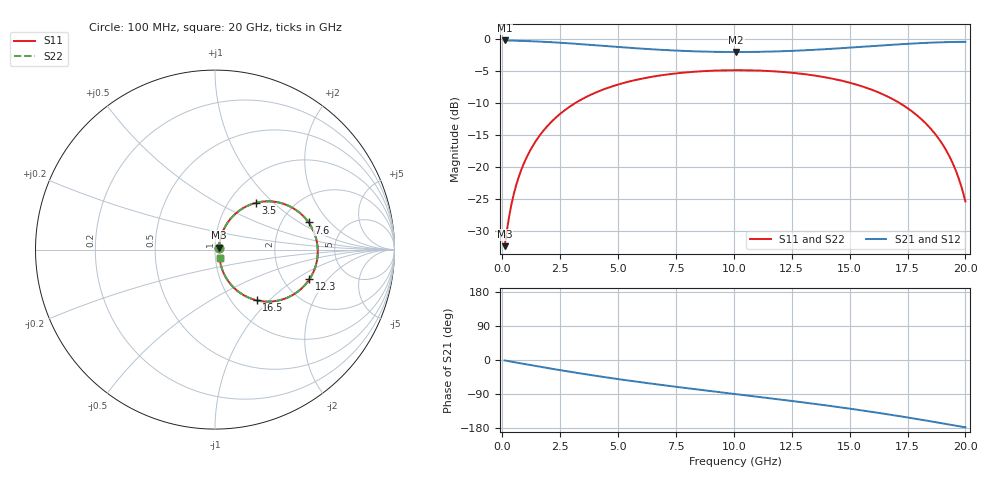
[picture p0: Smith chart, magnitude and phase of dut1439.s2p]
! Touchstone file exported from HFSS 2026.1.0
!  File:  C:/ffzhzh/LocalFiles/Ansys_Project_Files/temp_train_TSV_RDL_1439_1783357098_46376.aedt
!  Generated:  01:09:31 AM Jul  7, 2026
!  Design:  TSV_RDL
!  Project:  temp_train_TSV_RDL_1439_1783357098_46376
! Variables:
!  h_bsmrdl = 2.06um
!  h_ox = 20um
!  h_rdl = 5um
!  h_sub = 52.57um
!  h_tmrdl = 4.18um
!  h_tsv = 52.57um
!  h_via = 3um
!  l_bsmrdl = 385.5um
!  l_sub = 3197.88um
!  l_tmrdl = 378.8um
!  m_sub = 200um
!  pitch = 46.7um
!  r_tsv = 3.28um
!  s_tmrdl = 10um
!  w_bsmrdl = 18.17um
!  w_sub = 500um
!  w_tmrdl = 23.89um
!  x_tsv_center1 = 390.745um
!  x_tsv_center2 = 794.415um
!  x_tsv_center3 = 1197.105um
!  x_tsv_center4 = 1600.775um
!  x_tsv_center5 = 2003.465um
!  x_tsv_center6 = 2407.135um
# GHz S MA R 50.000000
! Terminal data exported
! Port[1] = TM_RDL1_1_T1
! Port[2] = TM_RDL5_1_T1
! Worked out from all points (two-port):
!   200 points, 100 MHz to 20 GHz, reference 50 ohm
!   highest |S21| = -0.18 dB at 100 MHz (marker M1); lowest = -2.0 dB at 10.1 GHz (marker M2)
!   |S21| within 3 dB of the highest: start of sweep to end of sweep
!   lowest |S11| = -32.4 dB at 100 MHz (marker M3), VSWR 1.05, Z = 52.1 + j1.21 ohm
!   |S11| at or under -10 dB: start of sweep to 3.144 GHz; 17.17 GHz to end of sweep
!   |S22| runs from -32.4 to -4.8 dB; largest |S21 - S12| = 1.7e-14
!   S11 on the Smith chart (normalised r, x): 100 MHz: 1.04, +0.02; 3.5 GHz: 1.32, +0.78; 7.6 GHz: 2.80, +1.20; 12.3 GHz: 2.76, -1.31; 16.5 GHz: 1.30, -0.85; 20 GHz: 1.05, -0.10
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0.1  0.02403 28.8  0.9791 -1.2  0.9791 -1.2  0.02403 28.8
! Gamma 0 0 0 0
! Port Impedance 50 0 50 0
0.3  0.04148 54.7  0.9775 -3.4  0.9775 -3.4  0.04148 54.7
0.5  0.06182 62.6  0.9754 -5.6  0.9754 -5.6  0.06182 62.6
0.8  0.09294 66.2  0.972 -8.9  0.972 -8.9  0.09294 66.2
1.2  0.1344 66.3  0.9666 -13.2  0.9666 -13.2  0.1344 66.3
1.7  0.1851 63.7  0.9579 -18.5  0.9579 -18.5  0.1851 63.7
2.2  0.2334 60.0  0.9471 -23.7  0.9471 -23.7  0.2334 60.0
3.5  0.3443 49.0  0.9128 -36.7  0.9128 -36.7  0.3443 49.0
5  0.4424 36.3  0.8705 -50.4  0.8705 -50.4  0.4424 36.3
6.8  0.5205 22.1  0.8281 -65.3  0.8281 -65.3  0.5205 22.1
7.6  0.5431 16.2  0.8142 -71.5  0.8142 -71.5  0.5431 16.2
10.1  0.5729 -1.7  0.795 -90.1  0.795 -90.1  0.5729 -1.7
12.3  0.5515 -17.4  0.8088 -106.5  0.8088 -106.5  0.5515 -17.4
13.4  0.5231 -25.6  0.8259 -115.1  0.8259 -115.1  0.5231 -25.6
15  0.4574 -38.1  0.8601 -128.3  0.8601 -128.3  0.4574 -38.1
16.5  0.3664 -50.5  0.8977 -141.9  0.8977 -141.9  0.3664 -50.5
16.7  0.352 -52.2  0.9027 -143.8  0.9027 -143.8  0.352 -52.1
17.9  0.2548 -62.1  0.9302 -155.6  0.9302 -155.6  0.2548 -62.1
18.8  0.1713 -68.4  0.9457 -164.9  0.9457 -164.9  0.1713 -68.4
19.5  0.1024 -69.9  0.9532 -172.3  0.9532 -172.3  0.1024 -69.8
19.8  0.07281 -67.0  0.955 -175.6  0.955 -175.6  0.07285 -66.9
20  0.05379 -61.5  0.9557 -177.7  0.9557 -177.7  0.05386 -61.3
